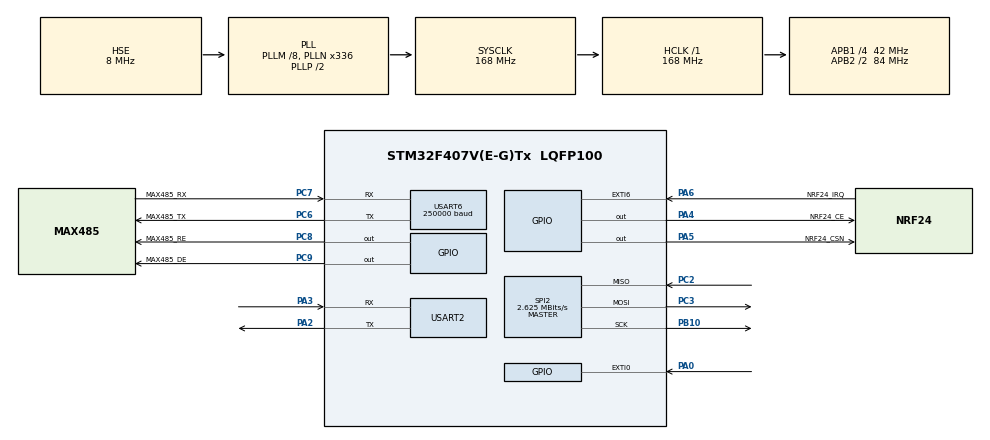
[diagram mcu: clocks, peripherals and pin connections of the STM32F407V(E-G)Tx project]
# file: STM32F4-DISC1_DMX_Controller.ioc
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Dma.Request0=USART6_TX
Dma.USART6_TX.0.Direction=DMA_MEMORY_TO_PERIPH
Dma.USART6_TX.0.FIFOMode=DMA_FIFOMODE_DISABLE
Dma.USART6_TX.0.Instance=DMA2_Stream6
Dma.USART6_TX.0.MemDataAlignment=DMA_MDATAALIGN_BYTE
Dma.USART6_TX.0.MemInc=DMA_MINC_ENABLE
Dma.USART6_TX.0.Mode=DMA_NORMAL
Dma.USART6_TX.0.PeriphDataAlignment=DMA_PDATAALIGN_BYTE
Dma.USART6_TX.0.PeriphInc=DMA_PINC_DISABLE
Dma.USART6_TX.0.Priority=DMA_PRIORITY_LOW
Mcu.Family=STM32F4
Mcu.Name=STM32F407V(E-G)Tx
Mcu.Package=LQFP100
NVIC.DMA2_Stream6_IRQn=true\:0\:0\:false\:false\:true\:false\:true\:true
NVIC.EXTI0_IRQn=true\:0\:0\:false\:false\:true\:true\:true\:true
NVIC.EXTI9_5_IRQn=true\:0\:0\:false\:false\:true\:true\:true\:true
NVIC.PriorityGroup=NVIC_PRIORITYGROUP_4
NVIC.TIM6_DAC_IRQn=true\:0\:0\:false\:false\:true\:true\:true\:true
NVIC.USART2_IRQn=true\:0\:0\:false\:false\:true\:true\:true\:true
NVIC.USART6_IRQn=true\:0\:0\:false\:false\:true\:true\:true\:true
PA0-WKUP.Signal=GPXTI0
PA13.Mode=Serial_Wire
PA13.Signal=SYS_JTMS-SWDIO
PA14.Mode=Serial_Wire
PA14.Signal=SYS_JTCK-SWCLK
PA2.Mode=Asynchronous
PA2.Signal=USART2_TX
PA3.Mode=Asynchronous
PA3.Signal=USART2_RX
PA4.GPIO_Label=NRF24_CE
PA4.Signal=GPIO_Output
PA5.GPIO_Label=NRF24_CSN
PA5.Signal=GPIO_Output
PA6.GPIO_Label=NRF24_IRQ
PA6.GPIO_ModeDefaultEXTI=GPIO_MODE_IT_FALLING
PA6.Signal=GPXTI6
PB10.Mode=Full_Duplex_Master
PB10.Signal=SPI2_SCK
PC2.Mode=Full_Duplex_Master
PC2.Signal=SPI2_MISO
PC3.Mode=Full_Duplex_Master
PC3.Signal=SPI2_MOSI
PC6.GPIO_Label=MAX485_TX
PC6.GPIO_PuPd=GPIO_NOPULL
PC6.Mode=Asynchronous
PC6.Signal=USART6_TX
PC7.GPIO_Label=MAX485_RX
PC7.GPIO_PuPd=GPIO_NOPULL
PC7.Mode=Asynchronous
PC7.Signal=USART6_RX
PC8.GPIO_Label=MAX485_RE
PC8.Signal=GPIO_Output
PC9.GPIO_Label=MAX485_DE
PC9.Signal=GPIO_Output
PH0-OSC_IN.Mode=HSE-External-Oscillator
PH0-OSC_IN.Signal=RCC_OSC_IN
PH1-OSC_OUT.Mode=HSE-External-Oscillator
PH1-OSC_OUT.Signal=RCC_OSC_OUT
ProjectManager.HeapSize=0x200
ProjectManager.StackSize=0x400
ProjectManager.TargetToolchain=STM32CubeIDE
RCC.48MHZClocksFreq_Value=84000000
RCC.AHBFreq_Value=168000000
RCC.APB1CLKDivider=RCC_HCLK_DIV4
RCC.APB1Freq_Value=42000000
RCC.APB1TimFreq_Value=84000000
RCC.APB2CLKDivider=RCC_HCLK_DIV2
RCC.APB2Freq_Value=84000000
RCC.APB2TimFreq_Value=168000000
RCC.CortexFreq_Value=168000000
RCC.HCLKFreq_Value=168000000
RCC.HSE_VALUE=8000000
RCC.HSI_VALUE=16000000
RCC.LSE_VALUE=32768
RCC.PLLM=8
RCC.PLLN=336
RCC.PLLSourceVirtual=RCC_PLLSOURCE_HSE
RCC.SYSCLKFreq_VALUE=168000000
RCC.SYSCLKSource=RCC_SYSCLKSOURCE_PLLCLK
RCC.VCOOutputFreq_Value=336000000
SPI2.BaudRatePrescaler=SPI_BAUDRATEPRESCALER_16
SPI2.CalculateBaudRate=2.625 MBits/s
SPI2.Direction=SPI_DIRECTION_2LINES
SPI2.Mode=SPI_MODE_MASTER
SPI2.VirtualType=VM_MASTER
TIM6.Prescaler=167
TIM6.TIM_MasterOutputTrigger=TIM_TRGO_UPDATE
USART2.VirtualMode=VM_ASYNC
USART6.BaudRate=250000
USART6.Mode=MODE_TX_RX
USART6.StopBits=STOPBITS_2
USART6.VirtualMode=VM_ASYNC
USART6.WordLength=WORDLENGTH_8B
VP_TIM6_VS_ClockSourceINT.Mode=Enable_Timer
board=custom

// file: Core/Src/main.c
/* USER CODE BEGIN Header */
/**
  ******************************************************************************
  * @file           : main.c
  * @brief          : Main program body
  ******************************************************************************
  * @attention
  *
  * Copyright (c) 2025 STMicroelectronics.
  * All rights reserved.
  *
  * This software is licensed under terms that can be found in the LICENSE file
  * in the root directory of this software component.
  * If no LICENSE file comes with this software, it is provided AS-IS.
  *
  ******************************************************************************
  */
/* USER CODE END Header */
#include "main.h"

/* USER CODE BEGIN Includes */
#include "led.h"
#include "pushbutton.h"
#include "uart_debug.h"
#include "dmx512.h"
#include "app.h"
#include "nrf24l01.h"
/* USER CODE END Includes */

SPI_HandleTypeDef hspi2;

TIM_HandleTypeDef htim6;

UART_HandleTypeDef huart2;
UART_HandleTypeDef huart6;
DMA_HandleTypeDef hdma_usart6_tx;

void SystemClock_Config(void);
static void MX_GPIO_Init(void);
static void MX_DMA_Init(void);
static void MX_USART2_UART_Init(void);
static void MX_USART6_UART_Init(void);
static void MX_TIM6_Init(void);
static void MX_SPI2_Init(void);

int main(void)
{

  /* MCU Configuration--------------------------------------------------------*/

  /* Reset of all peripherals, Initializes the Flash interface and the Systick. */
  HAL_Init();

  /* Configure the system clock */
  SystemClock_Config();

  /* Initialize all configured peripherals */
  MX_GPIO_Init();
  MX_DMA_Init();
  MX_USART2_UART_Init();
  MX_USART6_UART_Init();
  MX_TIM6_Init();
  MX_SPI2_Init();
  /* USER CODE BEGIN 2 */
  // LEDs Initialization
  BSP_LED_Init_All();

  // Pushbutton initialization
  BSP_PB_Init(BUTTON_USER, BUTTON_MODE_EXTI); // Try to config in EXTI mode and figure out what happen

  // UART Debug initialization (UART should be configured from the MCU wizard)
  // [UART2-TX=PA2, UART2-RX=PA3]
  UART_Init(&huart2);

  // DMX512 initialization
  if (NRF24_Init(&hspi2) != NRF24_SUCCESS) {
	  while(1);
  }

  if (DMX512_Init(&huart6, &htim6) != HAL_OK){
	  while(1);
  }

  // Main application Initialization
  APP_Init();
  /* USER CODE END 2 */

  /* Infinite loop */
  /* USER CODE BEGIN WHILE */
  while (1)
  {
	APP_Task(); // Main application task
    /* USER CODE END WHILE */

  }
}

void SystemClock_Config(void)
{
  RCC_OscInitTypeDef RCC_OscInitStruct = {0};
  RCC_ClkInitTypeDef RCC_ClkInitStruct = {0};

  /** Configure the main internal regulator output voltage
  */
  __HAL_RCC_PWR_CLK_ENABLE();
  __HAL_PWR_VOLTAGESCALING_CONFIG(PWR_REGULATOR_VOLTAGE_SCALE1);

  /** Initializes the RCC Oscillators according to the specified parameters
  * in the RCC_OscInitTypeDef structure.
  */
  RCC_OscInitStruct.OscillatorType = RCC_OSCILLATORTYPE_HSE;
  RCC_OscInitStruct.HSEState = RCC_HSE_ON;
  RCC_OscInitStruct.PLL.PLLState = RCC_PLL_ON;
  RCC_OscInitStruct.PLL.PLLSource = RCC_PLLSOURCE_HSE;
  RCC_OscInitStruct.PLL.PLLM = 8;
  RCC_OscInitStruct.PLL.PLLN = 336;
  RCC_OscInitStruct.PLL.PLLP = RCC_PLLP_DIV2;
  RCC_OscInitStruct.PLL.PLLQ = 4;
  if (HAL_RCC_OscConfig(&RCC_OscInitStruct) != HAL_OK)
  {
    Error_Handler();
  }

  /** Initializes the CPU, AHB and APB buses clocks
  */
  RCC_ClkInitStruct.ClockType = RCC_CLOCKTYPE_HCLK|RCC_CLOCKTYPE_SYSCLK
                              |RCC_CLOCKTYPE_PCLK1|RCC_CLOCKTYPE_PCLK2;
  RCC_ClkInitStruct.SYSCLKSource = RCC_SYSCLKSOURCE_PLLCLK;
  RCC_ClkInitStruct.AHBCLKDivider = RCC_SYSCLK_DIV1;
  RCC_ClkInitStruct.APB1CLKDivider = RCC_HCLK_DIV4;
  RCC_ClkInitStruct.APB2CLKDivider = RCC_HCLK_DIV2;

  if (HAL_RCC_ClockConfig(&RCC_ClkInitStruct, FLASH_LATENCY_5) != HAL_OK)
  {
    Error_Handler();
  }
}

static void MX_SPI2_Init(void)
{

  /* SPI2 parameter configuration*/
  hspi2.Instance = SPI2;
  hspi2.Init.Mode = SPI_MODE_MASTER;
  hspi2.Init.Direction = SPI_DIRECTION_2LINES;
  hspi2.Init.DataSize = SPI_DATASIZE_8BIT;
  hspi2.Init.CLKPolarity = SPI_POLARITY_LOW;
  hspi2.Init.CLKPhase = SPI_PHASE_1EDGE;
  hspi2.Init.NSS = SPI_NSS_SOFT;
  hspi2.Init.BaudRatePrescaler = SPI_BAUDRATEPRESCALER_16;
  hspi2.Init.FirstBit = SPI_FIRSTBIT_MSB;
  hspi2.Init.TIMode = SPI_TIMODE_DISABLE;
  hspi2.Init.CRCCalculation = SPI_CRCCALCULATION_DISABLE;
  hspi2.Init.CRCPolynomial = 10;
  if (HAL_SPI_Init(&hspi2) != HAL_OK)
  {
    Error_Handler();
  }

}

static void MX_TIM6_Init(void)
{

  TIM_MasterConfigTypeDef sMasterConfig = {0};

  htim6.Instance = TIM6;
  htim6.Init.Prescaler = 167;
  htim6.Init.CounterMode = TIM_COUNTERMODE_UP;
  htim6.Init.Period = 65535;
  htim6.Init.AutoReloadPreload = TIM_AUTORELOAD_PRELOAD_DISABLE;
  if (HAL_TIM_Base_Init(&htim6) != HAL_OK)
  {
    Error_Handler();
  }
  sMasterConfig.MasterOutputTrigger = TIM_TRGO_UPDATE;
  sMasterConfig.MasterSlaveMode = TIM_MASTERSLAVEMODE_DISABLE;
  if (HAL_TIMEx_MasterConfigSynchronization(&htim6, &sMasterConfig) != HAL_OK)
  {
    Error_Handler();
  }
  /* USER CODE BEGIN TIM6_Init 2 */
  // Habilitar interrupciones de actualización (update)
  HAL_TIM_Base_Start_IT(&htim6);

  // Configurar NVIC
  HAL_NVIC_SetPriority(TIM6_DAC_IRQn, 0, 0);
  HAL_NVIC_EnableIRQ(TIM6_DAC_IRQn);

  /* USER CODE END TIM6_Init 2 */

}

static void MX_USART2_UART_Init(void)
{

  huart2.Instance = USART2;
  huart2.Init.BaudRate = 115200;
  huart2.Init.WordLength = UART_WORDLENGTH_8B;
  huart2.Init.StopBits = UART_STOPBITS_1;
  huart2.Init.Parity = UART_PARITY_NONE;
  huart2.Init.Mode = UART_MODE_TX_RX;
  huart2.Init.HwFlowCtl = UART_HWCONTROL_NONE;
  huart2.Init.OverSampling = UART_OVERSAMPLING_16;
  if (HAL_UART_Init(&huart2) != HAL_OK)
  {
    Error_Handler();
  }

}

static void MX_USART6_UART_Init(void)
{

  huart6.Instance = USART6;
  huart6.Init.BaudRate = 250000;
  huart6.Init.WordLength = UART_WORDLENGTH_8B;
  huart6.Init.StopBits = UART_STOPBITS_2;
  huart6.Init.Parity = UART_PARITY_NONE;
  huart6.Init.Mode = UART_MODE_TX_RX;
  huart6.Init.HwFlowCtl = UART_HWCONTROL_NONE;
  huart6.Init.OverSampling = UART_OVERSAMPLING_16;
  if (HAL_UART_Init(&huart6) != HAL_OK)
  {
    Error_Handler();
  }

}

static void MX_DMA_Init(void)
{

  /* DMA controller clock enable */
  __HAL_RCC_DMA2_CLK_ENABLE();

  /* DMA interrupt init */
  /* DMA2_Stream6_IRQn interrupt configuration */
  HAL_NVIC_SetPriority(DMA2_Stream6_IRQn, 0, 0);
  HAL_NVIC_EnableIRQ(DMA2_Stream6_IRQn);

}

static void MX_GPIO_Init(void)
{
  GPIO_InitTypeDef GPIO_InitStruct = {0};

  /* GPIO Ports Clock Enable */
  __HAL_RCC_GPIOH_CLK_ENABLE();
  __HAL_RCC_GPIOC_CLK_ENABLE();
  __HAL_RCC_GPIOA_CLK_ENABLE();
  __HAL_RCC_GPIOB_CLK_ENABLE();

  /*Configure GPIO pin Output Level */
  HAL_GPIO_WritePin(GPIOA, NRF24_CE_Pin|NRF24_CSN_Pin, GPIO_PIN_RESET);

  /*Configure GPIO pin Output Level */
  HAL_GPIO_WritePin(GPIOC, MAX485_RE_Pin|MAX485_DE_Pin, GPIO_PIN_RESET);

  /*Configure GPIO pin : PA0 */
  GPIO_InitStruct.Pin = GPIO_PIN_0;
  GPIO_InitStruct.Mode = GPIO_MODE_IT_RISING;
  GPIO_InitStruct.Pull = GPIO_NOPULL;
  HAL_GPIO_Init(GPIOA, &GPIO_InitStruct);

  /*Configure GPIO pins : NRF24_CE_Pin NRF24_CSN_Pin */
  GPIO_InitStruct.Pin = NRF24_CE_Pin|NRF24_CSN_Pin;
  GPIO_InitStruct.Mode = GPIO_MODE_OUTPUT_PP;
  GPIO_InitStruct.Pull = GPIO_NOPULL;
  GPIO_InitStruct.Speed = GPIO_SPEED_FREQ_LOW;
  HAL_GPIO_Init(GPIOA, &GPIO_InitStruct);

  /*Configure GPIO pin : NRF24_IRQ_Pin */
  GPIO_InitStruct.Pin = NRF24_IRQ_Pin;
  GPIO_InitStruct.Mode = GPIO_MODE_IT_FALLING;
  GPIO_InitStruct.Pull = GPIO_NOPULL;
  HAL_GPIO_Init(NRF24_IRQ_GPIO_Port, &GPIO_InitStruct);

  /*Configure GPIO pins : MAX485_RE_Pin MAX485_DE_Pin */
  GPIO_InitStruct.Pin = MAX485_RE_Pin|MAX485_DE_Pin;
  GPIO_InitStruct.Mode = GPIO_MODE_OUTPUT_PP;
  GPIO_InitStruct.Pull = GPIO_NOPULL;
  GPIO_InitStruct.Speed = GPIO_SPEED_FREQ_LOW;
  HAL_GPIO_Init(GPIOC, &GPIO_InitStruct);

  /* EXTI interrupt init*/
  HAL_NVIC_SetPriority(EXTI0_IRQn, 0, 0);
  HAL_NVIC_EnableIRQ(EXTI0_IRQn);

  HAL_NVIC_SetPriority(EXTI9_5_IRQn, 0, 0);
  HAL_NVIC_EnableIRQ(EXTI9_5_IRQn);

}

void Error_Handler(void)
{
  __disable_irq();
  while (1)
  {
  }
}
